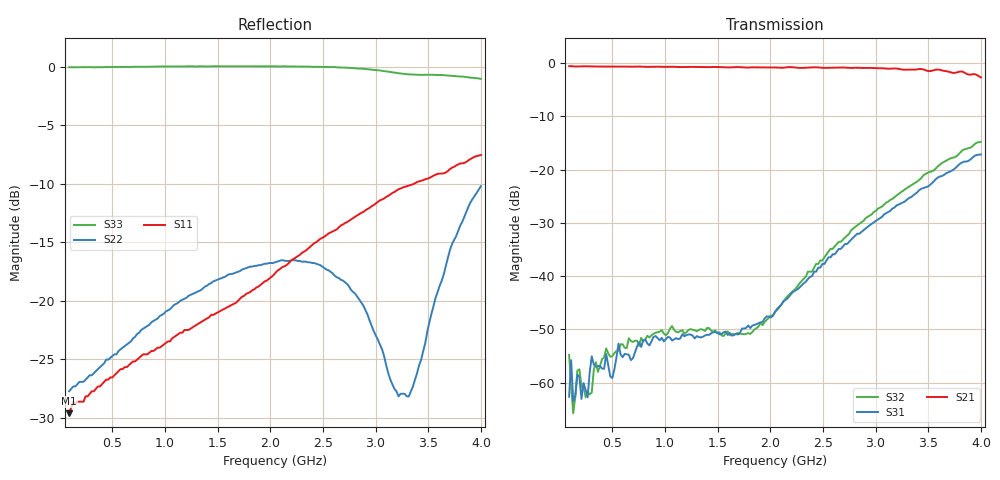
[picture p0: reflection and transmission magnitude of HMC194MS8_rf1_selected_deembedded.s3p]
!Hittite Microwave Corporation
!12 Elizabeth Drive
!Chelmsford, MA 01824
!Tel: 978-250-3343
!Fax: 978-250-3373
!Device: HMC194MS8, DC-3 GHz GaAS MMIC SPDT switch in 8-lead MSOP package
!Misc: Port 1 = RFCom, Port 2 = RF1, Port 3 = RF2, RF1 selected, Vctl=0/+5V
# MHZ S MA R 50
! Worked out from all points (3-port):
!   201 points, 90 MHz to 4 GHz, reference 50 ohm
!   strongest paths, dB at 90 MHz, 1.067 GHz, 2.045 GHz, 3.022 GHz, 4 GHz:
!     S21: -0.6, -0.7, -0.8, -1.0, -2.7
!     S31: -62.7, -52.1, -46.7, -29.4, -17.1
!     S32: -54.8, -49.4, -46.8, -27.3, -14.8
!   lowest |S11| = -29.6 dB at 90 MHz (marker M1), VSWR 1.07, Z = 53.4 + j0.466 ohm
!   |S11| at or under -10 dB: start of sweep to 3.363 GHz
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90  0.033 7.6  0.935 -0.7  0.0003961 8.6
    0.937 -0.6  0.041 7.1  0.0005745 38.3
    0.0007342 49.9  0.001816 84.6  0.997 -2.7
109.55  0.035 12.9  0.936 -0.9  0.0009194 79.9
        0.936 -0.9  0.042 10.5  0.0004597 61.1
        0.001619 82.3  0.0009378 105.5  0.997 -3.2
129.1  0.037 11.1  0.936 -1.0  0.000806 33.3
       0.935 -1.1  0.043 9.1  0.0003664 68.7
       0.0006596 47.2  0.0005135 8.9  0.998 -3.7
148.65  0.036 9.4  0.932 -0.9  0.0004301 68.6
        0.93 -1.0  0.043 7.7  0.0006836 63.7
        0.0007488 48.6  0.0007324 60.4  0.998 -4.2
168.2  0.037 9.8  0.931 -0.8  0.0009589 66.9
       0.93 -0.8  0.044 8.0  0.001234 58.6
       0.001188 63.5  0.001295 60.3  0.997 -4.7
265.95  0.039 8.4  0.932 -1.0  0.0009635 100.5
        0.933 -0.9  0.047 7.7  0.0009801 60.3
        0.0007249 35.4  0.0008216 85.3  0.999 -7.4
324.6  0.041 7.8  0.93 -1.0  0.001798 89.1
       0.93 -0.9  0.049 6.8  0.001648 77.5
       0.001474 85.9  0.001324 73.4  0.997 -8.9
2045  0.131 47.9  0.92 -3.2  0.005099 -154.7
      0.912 -3.3  0.146 15.0  0.00495 -25.2
      0.0046 -150.6  0.004591 -24.7  1.007 -45.3
3315.75  0.311 77.8  0.869 -12.5  0.054 -128.1
         0.87 -11.3  0.039 99.2  0.069 -94.4
         0.054 -121.4  0.069 -88.1  0.93 -92.3
4000  0.42 86.5  0.769 -24.4  0.161 -140.3
      0.735 -23.0  0.309 151.0  0.205 -120.8
      0.139 -140.8  0.182 -122.5  0.889 -127.5
